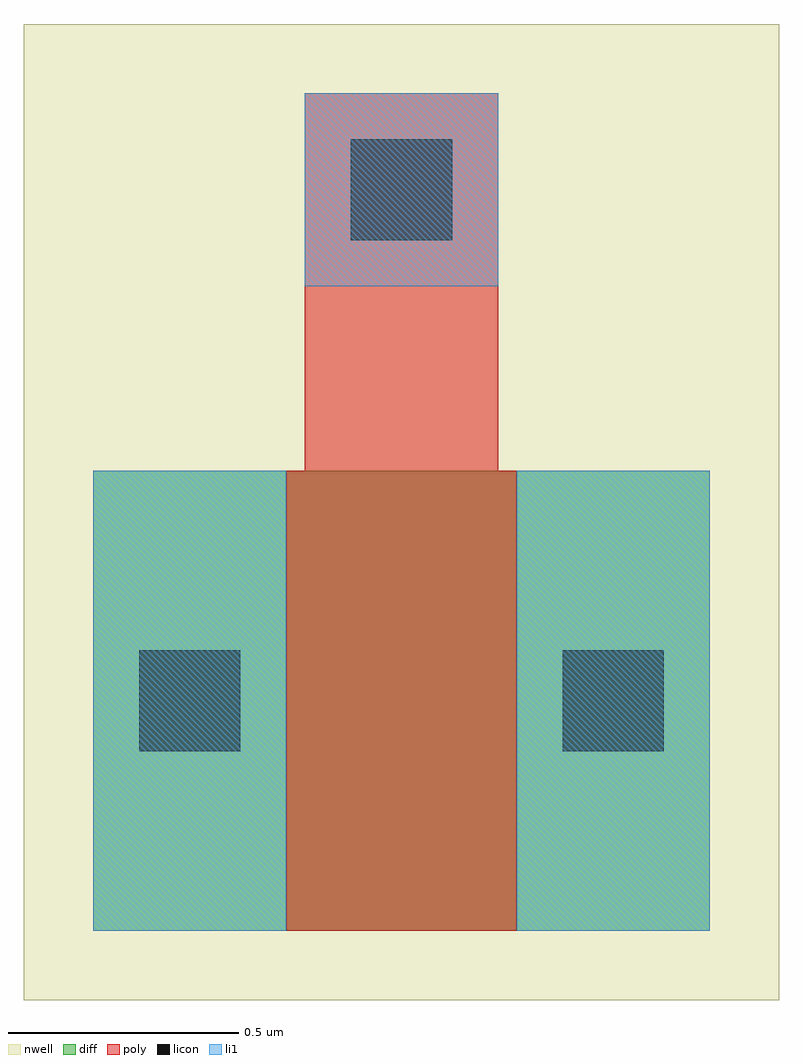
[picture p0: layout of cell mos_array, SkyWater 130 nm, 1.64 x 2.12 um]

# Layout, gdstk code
import gdstk
lib = gdstk.Library(unit=1e-6, precision=1e-09)
def R(c, l, rs):  # rectangles x0, y0, x1, y1
    for r in rs: c.add(gdstk.rectangle(r[:2], r[2:], *l))
nwell = (64, 20)
diff = (65, 20)
poly = (66, 20)
licon = (66, 44)
li1 = (67, 20)

mos_array = lib.new_cell('mos_array')
R(mos_array, nwell, [(-0.15,-0.15,1.49,1.97)])
R(mos_array, diff, [(0,0,1.34,1)])
R(mos_array, poly, [(0.42,0,0.92,1), (0.46,1,0.88,1.82)])
R(mos_array, licon, [(0.1,0.39,0.32,0.61), (1.02,0.39,1.24,0.61), (0.56,1.5,0.78,1.72)])
R(mos_array, li1, [(0,0,0.42,1), (0.92,0,1.34,1), (0.46,1.4,0.88,1.82)])

lib.write_gds('mos_array.gds')
